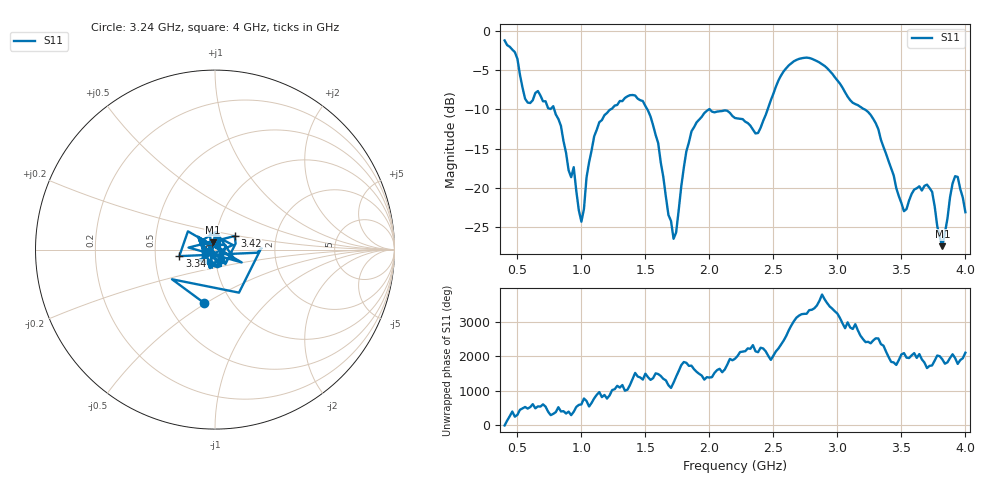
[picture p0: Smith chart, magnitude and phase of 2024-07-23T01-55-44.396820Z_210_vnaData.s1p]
!Created with skrf (http://scikit-rf.org).
# Hz S RI R 50.0
!freq ReS11 ImS11
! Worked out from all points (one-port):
!   181 points, 400 MHz to 4 GHz, reference 50 ohm
!   lowest |S11| = -27.4 dB at 3.82 GHz (marker M1), VSWR 1.09, Z = 48.7 + j3.98 ohm
!   |S11| at or under -10 dB: 787.4 MHz to 1.23 GHz (442.5 MHz wide, 43.9 % of centre); 1.514 GHz to 1.998 GHz (483.2 MHz wide, 27.5 % of centre); 3.21 GHz to end of sweep (the widest 3 of 4)
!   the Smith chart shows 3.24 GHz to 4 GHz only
!   S11 on the Smith chart (normalised r, x): 3.24 GHz: 0.75, -0.49; 3.34 GHz: 0.67, -0.05; 3.42 GHz: 1.23, +0.19; 4 GHz: 1.07, -0.13
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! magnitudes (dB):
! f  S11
! 400 MHz  -1.2
! 500 MHz  -3.6
! 560 MHz  -8.7
! 780 MHz  -9.6
! 860 MHz  -14.0
! 940 MHz  -17.4
! 1 GHz  -24.3
! 1.1 GHz  -13.4
! 1.3 GHz  -8.9
! 1.52 GHz  -10.2
! 1.6 GHz  -14.3
! 1.72 GHz  -26.5
! 1.76 GHz  -22.9
! 1.82 GHz  -15.3
! 1.9 GHz  -11.7
! 2.2 GHz  -11.1
! 2.38 GHz  -13.0
! 2.66 GHz  -3.9
! 3.1 GHz  -8.8
! 3.24 GHz  -10.3
! 3.34 GHz  -13.9
! 3.42 GHz  -17.5
! 3.52 GHz  -23.0
! 3.56 GHz  -21.6
! 3.72 GHz  -20.0
! 3.82 GHz  -27.4
! 3.92 GHz  -18.5
! 4 GHz  -23.1
